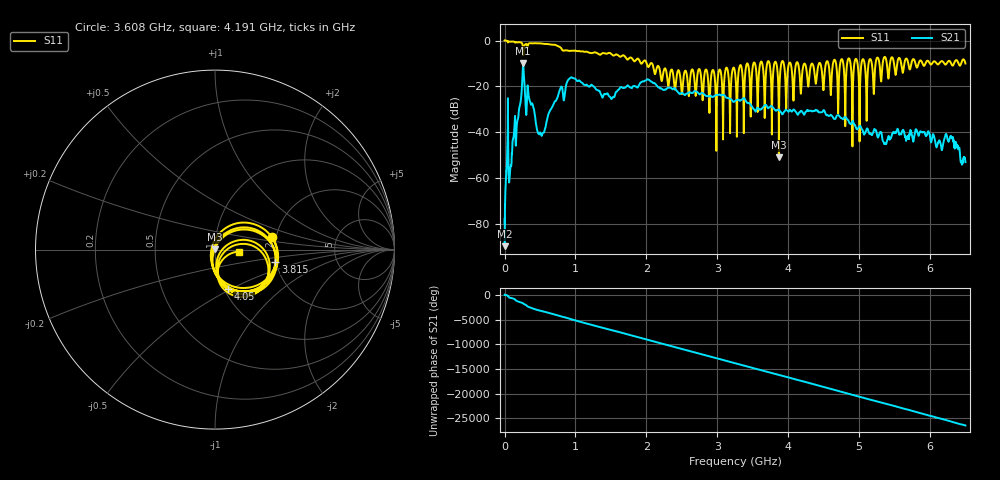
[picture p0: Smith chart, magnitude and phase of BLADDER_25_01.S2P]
!Keysight Technologies,E5063A,MY54503115,A.05.08
!Date: Sun Feb 04 18:16:37 2024
!Data & Calibration Information:
!Freq	S11:NONE(--)	S21:NONE(--)	S12:NONE(--)	S22:NONE(--)
# Hz S dB R 50
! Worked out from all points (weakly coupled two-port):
!   10001 points, 100 kHz to 6.5 GHz, reference 50 ohm
!   highest |S21| = -9.80 dB at 262 MHz (marker M1); lowest = -89.8 dB at 750 kHz (marker M2)
!   lowest |S11| = -51.0 dB at 3.869 GHz (marker M3), VSWR 1.01, Z = 49.8 + j0.234 ohm
!   |S11| at or under -10 dB: 2.08 GHz to 3.42 GHz (1.34 GHz wide, 48.7 % of centre); 3.426 GHz to 3.51 GHz (84.25 MHz wide, 2.43 % of centre); 4.139 GHz to 4.435 GHz (295.8 MHz wide, 6.9 % of centre) (the widest 3 of 32)
!   S12 and S22 are empty: the file has one direction only
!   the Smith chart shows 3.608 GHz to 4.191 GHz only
!   S11 on the Smith chart (normalised r, x): 3.608 GHz: 1.90, +0.30; 3.815 GHz: 1.98, -0.30; 4.05 GHz: 1.04, -0.48; 4.191 GHz: 1.31, -0.03
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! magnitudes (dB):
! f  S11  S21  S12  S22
! 100 kHz  0.0  -88.5  -  -
! 750 kHz  0.0  -89.8  -  -
! 37.8 MHz  -0.2  -46.9  -  -
! 87.2 MHz  -0.5  -54.9  -  -
! 262 MHz  -6.1  -9.8  -  -
! 505.8 MHz  -1.2  -40.5  -  -
! 784.6 MHz  -2.9  -21.1  -  -
! 1.084 GHz  -4.7  -18.3  -  -
! 1.515 GHz  -6.1  -25.2  -  -
! 2.167 GHz  -11.1  -20.4  -  -
! 3.25 GHz  -13.9  -26.4  -  -
! 3.608 GHz  -9.7  -30.1  -  -
! 3.771 GHz  -35.9  -28.7  -  -
! 3.815 GHz  -9.3  -30.3  -  -
! 3.869 GHz  -51.0  -30.1  -  -
! 3.92 GHz  -8.9  -32.2  -  -
! 4.05 GHz  -12.7  -31.0  -  -
! 4.191 GHz  -17.4  -30.8  -  -
! 4.334 GHz  -10.0  -30.9  -  -
! 5.417 GHz  -16.1  -41.7  -  -
! 6.303 GHz  -10.3  -42.0  -  -
! 6.5 GHz  -10.0  -53.1  -  -
